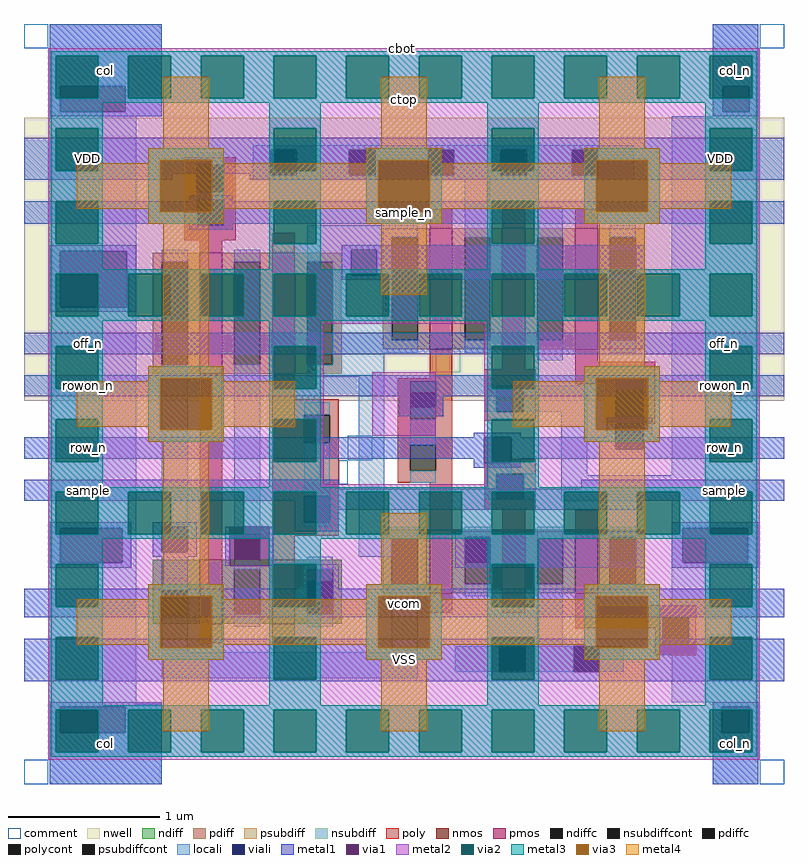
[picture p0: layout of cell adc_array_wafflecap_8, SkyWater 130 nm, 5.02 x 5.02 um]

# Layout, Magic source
magic
tech sky130A
magscale 1 2
<< nwell >>
rect 0 506 1004 880
<< nmos >>
rect 232 212 262 296
rect 328 212 358 296
rect 536 252 566 336
rect 632 252 662 336
rect 728 252 758 336
<< pmos >>
rect 232 542 262 702
rect 328 542 358 702
rect 536 574 566 734
rect 632 574 662 734
rect 728 574 758 734
<< ndiff >>
rect 474 324 536 336
rect 170 256 232 296
rect 170 222 182 256
rect 216 222 232 256
rect 170 212 232 222
rect 262 284 328 296
rect 262 224 278 284
rect 312 224 328 284
rect 262 212 328 224
rect 358 284 420 296
rect 358 224 374 284
rect 408 224 420 284
rect 474 264 486 324
rect 520 264 536 324
rect 474 252 536 264
rect 566 324 632 336
rect 566 264 582 324
rect 616 264 632 324
rect 566 252 632 264
rect 662 324 728 336
rect 662 264 678 324
rect 712 264 728 324
rect 662 252 728 264
rect 758 324 820 336
rect 758 264 774 324
rect 808 264 820 324
rect 758 252 820 264
rect 358 212 420 224
<< pdiff >>
rect 474 722 536 734
rect 170 690 232 702
rect 170 554 182 690
rect 216 554 232 690
rect 170 542 232 554
rect 262 690 328 702
rect 262 554 278 690
rect 312 554 328 690
rect 262 542 328 554
rect 358 690 420 702
rect 358 554 374 690
rect 408 554 420 690
rect 474 586 486 722
rect 520 586 536 722
rect 474 574 536 586
rect 566 722 632 734
rect 566 586 582 722
rect 616 586 632 722
rect 566 574 632 586
rect 662 722 728 734
rect 662 586 678 722
rect 712 586 728 722
rect 662 574 728 586
rect 758 722 820 734
rect 758 586 774 722
rect 808 586 820 722
rect 758 574 820 586
rect 358 542 420 554
<< ndiffc >>
rect 182 222 216 256
rect 278 224 312 284
rect 374 224 408 284
rect 486 264 520 324
rect 582 264 616 324
rect 678 264 712 324
rect 774 264 808 324
<< pdiffc >>
rect 182 554 216 690
rect 278 554 312 690
rect 374 554 408 690
rect 486 586 520 722
rect 582 586 616 722
rect 678 586 712 722
rect 774 586 808 722
<< psubdiff >>
rect 570 148 628 182
rect 662 148 726 182
rect 760 148 792 182
<< nsubdiff >>
rect 302 838 806 844
rect 302 804 326 838
rect 360 804 430 838
rect 464 804 534 838
rect 568 804 630 838
rect 664 804 724 838
rect 758 804 806 838
rect 302 798 806 804
<< psubdiffcont >>
rect 628 148 662 182
rect 726 148 760 182
<< nsubdiffcont >>
rect 326 804 360 838
rect 430 804 464 838
rect 534 804 568 838
rect 630 804 664 838
rect 724 804 758 838
<< poly >>
rect 212 818 280 828
rect 212 782 228 818
rect 264 782 280 818
rect 212 718 280 782
rect 536 734 566 760
rect 632 734 662 760
rect 728 734 758 760
rect 232 702 262 718
rect 328 702 358 728
rect 232 296 262 542
rect 328 508 358 542
rect 536 536 566 574
rect 632 548 662 574
rect 728 558 758 574
rect 494 516 566 536
rect 328 488 416 508
rect 328 450 370 488
rect 404 450 416 488
rect 328 328 416 450
rect 494 482 510 516
rect 544 482 566 516
rect 494 448 566 482
rect 608 526 676 548
rect 728 528 834 558
rect 608 492 624 526
rect 660 492 676 526
rect 608 480 676 492
rect 766 520 834 528
rect 766 486 782 520
rect 818 486 834 520
rect 766 476 834 486
rect 494 414 510 448
rect 544 414 566 448
rect 644 426 676 430
rect 494 398 566 414
rect 536 336 566 398
rect 608 410 676 426
rect 608 376 624 410
rect 660 376 676 410
rect 608 362 676 376
rect 632 336 662 362
rect 728 336 758 362
rect 328 296 358 328
rect 536 226 566 252
rect 632 226 662 252
rect 728 236 758 252
rect 728 220 888 236
rect 232 186 262 212
rect 328 186 358 212
rect 728 206 844 220
rect 834 186 844 206
rect 878 186 888 220
rect 834 170 888 186
<< polycont >>
rect 228 782 264 818
rect 370 450 404 488
rect 510 482 544 516
rect 624 492 660 526
rect 782 486 818 520
rect 510 414 544 448
rect 624 376 660 410
rect 844 186 878 220
<< locali >>
rect 34 922 182 1004
rect 34 888 48 922
rect 134 888 182 922
rect 34 882 182 888
rect 910 922 970 1004
rect 910 888 923 922
rect 958 888 970 922
rect 910 882 970 888
rect 34 704 148 882
rect 302 838 806 844
rect 228 818 264 834
rect 302 804 326 838
rect 360 804 430 838
rect 464 804 534 838
rect 568 804 630 838
rect 664 804 724 838
rect 758 804 806 838
rect 302 798 806 804
rect 228 772 264 782
rect 228 738 230 772
rect 374 722 520 738
rect 374 706 486 722
rect 34 630 48 704
rect 136 630 148 704
rect 34 338 148 630
rect 34 292 48 338
rect 130 292 148 338
rect 182 690 216 706
rect 182 340 216 554
rect 278 690 312 706
rect 278 330 312 554
rect 374 690 432 706
rect 408 672 432 690
rect 466 672 486 706
rect 408 586 486 672
rect 408 570 520 586
rect 582 722 616 798
rect 582 570 616 586
rect 678 722 712 762
rect 408 554 476 570
rect 678 560 712 586
rect 774 722 808 738
rect 774 570 808 586
rect 374 538 476 554
rect 370 488 404 504
rect 370 380 404 450
rect 370 340 404 346
rect 442 340 476 538
rect 608 492 624 526
rect 660 492 744 526
rect 510 448 544 482
rect 510 398 544 414
rect 608 410 644 424
rect 608 376 624 410
rect 660 376 676 410
rect 710 408 744 492
rect 782 520 818 536
rect 782 476 818 486
rect 856 408 970 882
rect 710 374 970 408
rect 34 106 148 292
rect 442 324 520 340
rect 442 300 486 324
rect 278 284 312 296
rect 182 256 216 272
rect 182 174 216 222
rect 278 208 312 224
rect 374 284 408 300
rect 374 208 408 224
rect 486 174 520 264
rect 582 326 616 340
rect 582 248 616 264
rect 678 324 712 340
rect 678 182 712 264
rect 774 326 808 340
rect 774 248 808 264
rect 856 338 970 374
rect 856 292 870 338
rect 956 292 970 338
rect 856 236 970 292
rect 840 220 970 236
rect 840 186 844 220
rect 878 186 970 220
rect 182 140 520 174
rect 570 148 628 182
rect 662 148 726 182
rect 760 148 792 182
rect 840 170 970 186
rect 856 108 970 170
rect 34 102 182 106
rect 34 68 48 102
rect 134 68 182 102
rect 34 0 182 68
rect 910 102 970 108
rect 910 68 922 102
rect 958 68 970 102
rect 910 0 970 68
<< viali >>
rect 48 888 134 922
rect 923 888 958 922
rect 326 804 360 838
rect 430 804 464 838
rect 534 804 568 838
rect 630 804 664 838
rect 724 804 758 838
rect 230 738 264 772
rect 48 630 136 704
rect 48 292 130 338
rect 182 306 216 340
rect 432 672 466 706
rect 774 672 808 706
rect 370 346 404 380
rect 510 516 544 532
rect 510 498 544 516
rect 608 424 644 458
rect 782 442 818 476
rect 278 296 312 330
rect 374 234 408 268
rect 582 324 616 326
rect 582 292 616 324
rect 774 324 808 326
rect 774 292 808 324
rect 870 292 956 338
rect 628 148 662 182
rect 726 148 760 182
rect 48 68 134 102
rect 922 68 958 102
<< metal1 >>
rect 34 922 182 1004
rect 34 888 48 922
rect 134 888 182 922
rect 34 882 182 888
rect 910 922 970 1004
rect 910 888 923 922
rect 958 888 970 922
rect 910 882 970 888
rect 0 838 1004 854
rect 0 806 326 838
rect 0 798 196 806
rect 298 804 326 806
rect 360 804 430 838
rect 464 804 534 838
rect 568 804 630 838
rect 664 804 724 838
rect 758 804 1004 838
rect 298 798 1004 804
rect 218 772 276 778
rect 218 770 230 772
rect 0 740 230 770
rect 218 738 230 740
rect 264 770 276 772
rect 264 740 1004 770
rect 264 738 276 740
rect 218 732 276 738
rect 34 704 148 712
rect 34 630 48 704
rect 136 630 148 704
rect 420 706 820 712
rect 420 672 432 706
rect 466 672 774 706
rect 808 672 820 706
rect 420 666 820 672
rect 34 624 148 630
rect 0 568 1004 596
rect 0 532 1004 540
rect 0 512 510 532
rect 496 498 510 512
rect 544 512 1004 532
rect 544 498 554 512
rect 496 486 554 498
rect 770 476 830 484
rect 594 458 656 464
rect 770 458 782 476
rect 0 430 608 458
rect 594 424 608 430
rect 644 442 782 458
rect 818 458 830 476
rect 818 442 1004 458
rect 644 430 1004 442
rect 644 424 656 430
rect 594 418 656 424
rect 0 390 416 402
rect 736 390 1004 402
rect 0 380 1004 390
rect 0 374 370 380
rect 358 346 370 374
rect 404 374 1004 380
rect 404 362 816 374
rect 404 346 416 362
rect 34 338 142 346
rect 34 292 48 338
rect 130 292 142 338
rect 170 340 228 346
rect 170 306 182 340
rect 216 306 228 340
rect 170 300 228 306
rect 34 286 142 292
rect 182 258 216 300
rect 266 288 272 340
rect 324 288 330 340
rect 358 334 416 346
rect 856 338 970 346
rect 570 326 820 334
rect 570 292 582 326
rect 616 292 774 326
rect 808 292 820 326
rect 368 268 416 290
rect 570 286 820 292
rect 856 292 870 338
rect 956 292 970 338
rect 856 286 970 292
rect 368 258 374 268
rect 0 234 374 258
rect 408 258 416 268
rect 408 234 1004 258
rect 0 220 1004 234
rect 0 182 1004 192
rect 0 148 628 182
rect 662 148 726 182
rect 760 148 1004 182
rect 0 136 1004 148
rect 34 102 182 108
rect 34 68 48 102
rect 134 68 182 102
rect 34 0 182 68
rect 910 102 970 108
rect 910 68 922 102
rect 958 68 970 102
rect 910 0 970 68
<< via1 >>
rect 272 330 324 340
rect 272 296 278 330
rect 278 296 312 330
rect 312 296 324 330
rect 272 288 324 296
<< metal2 >>
rect 32 962 972 972
rect 32 906 42 962
rect 98 906 138 962
rect 194 906 234 962
rect 290 906 330 962
rect 386 906 426 962
rect 482 906 522 962
rect 578 906 618 962
rect 674 906 714 962
rect 770 906 810 962
rect 866 906 906 962
rect 962 906 972 962
rect 32 866 972 906
rect 32 810 42 866
rect 98 810 330 866
rect 386 810 618 866
rect 674 810 906 866
rect 962 810 972 866
rect 32 770 972 810
rect 32 714 42 770
rect 98 714 330 770
rect 386 714 618 770
rect 674 714 906 770
rect 962 714 972 770
rect 32 674 972 714
rect 32 618 42 674
rect 98 618 138 674
rect 194 618 234 674
rect 290 618 330 674
rect 386 618 426 674
rect 482 618 522 674
rect 578 618 618 674
rect 674 618 714 674
rect 770 618 810 674
rect 866 618 906 674
rect 962 618 972 674
rect 32 608 972 618
rect 32 578 396 608
rect 32 522 42 578
rect 98 522 330 578
rect 386 522 396 578
rect 608 578 972 608
rect 32 482 396 522
rect 32 426 42 482
rect 98 426 330 482
rect 386 426 396 482
rect 460 460 544 544
rect 608 522 618 578
rect 674 522 906 578
rect 962 522 972 578
rect 608 482 972 522
rect 32 396 396 426
rect 608 426 618 482
rect 674 426 906 482
rect 962 426 972 482
rect 608 396 972 426
rect 32 386 972 396
rect 32 330 42 386
rect 98 330 138 386
rect 194 330 234 386
rect 290 340 330 386
rect 324 330 330 340
rect 386 330 426 386
rect 482 330 522 386
rect 578 330 618 386
rect 674 330 714 386
rect 770 330 810 386
rect 866 330 906 386
rect 962 330 972 386
rect 32 290 272 330
rect 32 234 42 290
rect 98 288 272 290
rect 324 290 972 330
rect 324 288 330 290
rect 98 234 330 288
rect 386 234 618 290
rect 674 234 906 290
rect 962 234 972 290
rect 32 194 972 234
rect 32 138 42 194
rect 98 138 330 194
rect 386 138 618 194
rect 674 138 906 194
rect 962 138 972 194
rect 32 98 972 138
rect 32 42 42 98
rect 98 42 138 98
rect 194 42 234 98
rect 290 42 330 98
rect 386 42 426 98
rect 482 42 522 98
rect 578 42 618 98
rect 674 42 714 98
rect 770 42 810 98
rect 866 42 906 98
rect 962 42 972 98
rect 32 32 972 42
<< via2 >>
rect 42 906 98 962
rect 138 906 194 962
rect 234 906 290 962
rect 330 906 386 962
rect 426 906 482 962
rect 522 906 578 962
rect 618 906 674 962
rect 714 906 770 962
rect 810 906 866 962
rect 906 906 962 962
rect 42 810 98 866
rect 330 810 386 866
rect 618 810 674 866
rect 906 810 962 866
rect 42 714 98 770
rect 330 714 386 770
rect 618 714 674 770
rect 906 714 962 770
rect 42 618 98 674
rect 138 618 194 674
rect 234 618 290 674
rect 330 618 386 674
rect 426 618 482 674
rect 522 618 578 674
rect 618 618 674 674
rect 714 618 770 674
rect 810 618 866 674
rect 906 618 962 674
rect 42 522 98 578
rect 330 522 386 578
rect 42 426 98 482
rect 330 426 386 482
rect 618 522 674 578
rect 906 522 962 578
rect 618 426 674 482
rect 906 426 962 482
rect 42 330 98 386
rect 138 330 194 386
rect 234 340 290 386
rect 234 330 272 340
rect 272 330 290 340
rect 330 330 386 386
rect 426 330 482 386
rect 522 330 578 386
rect 618 330 674 386
rect 714 330 770 386
rect 810 330 866 386
rect 906 330 962 386
rect 42 234 98 290
rect 330 234 386 290
rect 618 234 674 290
rect 906 234 962 290
rect 42 138 98 194
rect 330 138 386 194
rect 618 138 674 194
rect 906 138 962 194
rect 42 42 98 98
rect 138 42 194 98
rect 234 42 290 98
rect 330 42 386 98
rect 426 42 482 98
rect 522 42 578 98
rect 618 42 674 98
rect 714 42 770 98
rect 810 42 866 98
rect 906 42 962 98
<< metal3 >>
rect 36 962 968 968
rect 36 906 42 962
rect 98 906 138 962
rect 194 906 234 962
rect 290 906 330 962
rect 386 906 426 962
rect 482 906 522 962
rect 578 906 618 962
rect 674 906 714 962
rect 770 906 810 962
rect 866 906 906 962
rect 962 906 968 962
rect 36 900 968 906
rect 36 866 104 900
rect 36 810 42 866
rect 98 810 104 866
rect 324 866 392 900
rect 36 770 104 810
rect 36 714 42 770
rect 98 714 104 770
rect 164 824 264 840
rect 164 756 180 824
rect 248 756 264 824
rect 164 740 264 756
rect 324 810 330 866
rect 386 810 392 866
rect 612 866 680 900
rect 324 770 392 810
rect 36 680 104 714
rect 324 714 330 770
rect 386 714 392 770
rect 452 824 552 840
rect 452 756 468 824
rect 536 756 552 824
rect 452 740 552 756
rect 612 810 618 866
rect 674 810 680 866
rect 900 866 968 900
rect 612 770 680 810
rect 324 680 392 714
rect 612 714 618 770
rect 674 714 680 770
rect 740 824 840 840
rect 740 756 756 824
rect 824 756 840 824
rect 740 740 840 756
rect 900 810 906 866
rect 962 810 968 866
rect 900 770 968 810
rect 612 680 680 714
rect 900 714 906 770
rect 962 714 968 770
rect 900 680 968 714
rect 36 674 968 680
rect 36 618 42 674
rect 98 618 138 674
rect 194 618 234 674
rect 290 618 330 674
rect 386 618 426 674
rect 482 618 522 674
rect 578 618 618 674
rect 674 618 714 674
rect 770 618 810 674
rect 866 618 906 674
rect 962 618 968 674
rect 36 612 968 618
rect 36 578 104 612
rect 36 522 42 578
rect 98 522 104 578
rect 324 578 392 612
rect 36 482 104 522
rect 36 426 42 482
rect 98 426 104 482
rect 164 536 264 552
rect 164 468 180 536
rect 248 468 264 536
rect 164 452 264 468
rect 324 522 330 578
rect 386 522 392 578
rect 324 482 392 522
rect 36 392 104 426
rect 324 426 330 482
rect 386 426 392 482
rect 324 392 392 426
rect 612 578 680 612
rect 612 522 618 578
rect 674 522 680 578
rect 900 578 968 612
rect 612 482 680 522
rect 612 426 618 482
rect 674 426 680 482
rect 740 536 840 552
rect 740 468 756 536
rect 824 468 840 536
rect 740 452 840 468
rect 900 522 906 578
rect 962 522 968 578
rect 900 482 968 522
rect 612 392 680 426
rect 900 426 906 482
rect 962 426 968 482
rect 900 392 968 426
rect 36 386 968 392
rect 36 330 42 386
rect 98 330 138 386
rect 194 330 234 386
rect 290 330 330 386
rect 386 330 426 386
rect 482 330 522 386
rect 578 330 618 386
rect 674 330 714 386
rect 770 330 810 386
rect 866 330 906 386
rect 962 330 968 386
rect 36 324 968 330
rect 36 290 104 324
rect 36 234 42 290
rect 98 234 104 290
rect 324 290 392 324
rect 36 194 104 234
rect 36 138 42 194
rect 98 138 104 194
rect 164 248 264 264
rect 164 180 180 248
rect 248 180 264 248
rect 164 164 264 180
rect 324 234 330 290
rect 386 234 392 290
rect 612 290 680 324
rect 324 194 392 234
rect 36 104 104 138
rect 324 138 330 194
rect 386 138 392 194
rect 452 248 552 264
rect 452 180 468 248
rect 536 180 552 248
rect 452 164 552 180
rect 612 234 618 290
rect 674 234 680 290
rect 900 290 968 324
rect 612 194 680 234
rect 324 104 392 138
rect 612 138 618 194
rect 674 138 680 194
rect 740 248 840 264
rect 740 180 756 248
rect 824 180 840 248
rect 740 164 840 180
rect 900 234 906 290
rect 962 234 968 290
rect 900 194 968 234
rect 612 104 680 138
rect 900 138 906 194
rect 962 138 968 194
rect 900 104 968 138
rect 36 98 968 104
rect 36 42 42 98
rect 98 42 138 98
rect 194 42 234 98
rect 290 42 330 98
rect 386 42 426 98
rect 482 42 522 98
rect 578 42 618 98
rect 674 42 714 98
rect 770 42 810 98
rect 866 42 906 98
rect 962 42 968 98
rect 36 36 968 42
<< via3 >>
rect 180 756 248 824
rect 468 756 536 824
rect 756 756 824 824
rect 180 468 248 536
rect 756 468 824 536
rect 180 180 248 248
rect 468 180 536 248
rect 756 180 824 248
<< metal4 >>
rect 184 840 244 934
rect 472 840 532 934
rect 760 840 820 934
rect 164 824 264 840
rect 164 820 180 824
rect 70 760 180 820
rect 164 756 180 760
rect 248 820 264 824
rect 452 824 552 840
rect 452 820 468 824
rect 248 760 468 820
rect 248 756 264 760
rect 164 740 264 756
rect 452 756 468 760
rect 536 820 552 824
rect 740 824 840 840
rect 740 820 756 824
rect 536 760 756 820
rect 536 756 552 760
rect 452 740 552 756
rect 740 756 756 760
rect 824 820 840 824
rect 824 760 934 820
rect 824 756 840 760
rect 740 740 840 756
rect 184 552 244 740
rect 472 646 532 740
rect 760 552 820 740
rect 164 536 264 552
rect 164 532 180 536
rect 70 472 180 532
rect 164 468 180 472
rect 248 532 264 536
rect 740 536 840 552
rect 740 532 756 536
rect 248 472 358 532
rect 646 472 756 532
rect 248 468 264 472
rect 164 452 264 468
rect 740 468 756 472
rect 824 532 840 536
rect 824 472 934 532
rect 824 468 840 472
rect 740 452 840 468
rect 184 264 244 452
rect 472 264 532 358
rect 760 264 820 452
rect 164 248 264 264
rect 164 244 180 248
rect 70 184 180 244
rect 164 180 180 184
rect 248 244 264 248
rect 452 248 552 264
rect 452 244 468 248
rect 248 184 468 244
rect 248 180 264 184
rect 164 164 264 180
rect 452 180 468 184
rect 536 244 552 248
rect 740 248 840 264
rect 740 244 756 248
rect 536 184 756 244
rect 536 180 552 184
rect 452 164 552 180
rect 740 180 756 184
rect 824 244 840 248
rect 824 184 934 244
rect 824 180 840 184
rect 740 164 840 180
rect 184 70 244 164
rect 472 70 532 164
rect 760 70 820 164
<< comment >>
rect 0 972 32 1004
rect 972 972 1004 1004
rect 576 576 608 608
rect 544 544 576 576
rect 428 428 460 460
rect 416 396 428 428
rect 0 0 32 32
rect 972 0 1004 32
<< labels >>
flabel metal1 0 798 167 854 0 FreeSans 160 0 0 0 VDD
port 1 w power bidirectional
flabel metal1 837 798 1004 854 0 FreeSans 160 0 0 0 VDD
port 1 e power bidirectional
flabel metal1 0 136 1004 192 0 FreeSans 320 0 0 0 VSS
port 2 nsew ground bidirectional
flabel metal1 0 220 1004 258 0 FreeSans 320 0 0 0 vcom
port 3 nsew
flabel metal4 472 874 532 934 1 FreeSans 160 0 0 0 ctop
port 4 n
flabel metal1 34 0 182 108 5 FreeSans 320 0 0 0 col
port 5 s
flabel metal1 34 882 182 1004 1 FreeSans 320 0 0 0 col
port 5 n
flabel space 910 0 970 108 1 FreeSans 320 0 0 0 col_n
port 6 s
flabel space 910 882 970 1004 1 FreeSans 320 0 0 0 col_n
port 6 n
flabel metal1 0 430 171 458 0 FreeSans 160 0 0 0 row_n
port 7 w
flabel metal1 846 430 1004 458 0 FreeSans 160 0 0 0 row_n
port 7 e
flabel metal1 0 512 171 540 0 FreeSans 160 0 0 0 rowon_n
port 8 w
flabel metal1 849 512 1004 540 0 FreeSans 160 0 0 0 rowon_n
port 8 e
flabel metal1 0 374 171 402 0 FreeSans 160 0 0 0 sample
port 9 w
flabel metal1 846 374 1004 402 0 FreeSans 160 0 0 0 sample
port 9 e
flabel metal1 0 740 1004 770 0 FreeSans 160 0 0 0 sample_n
port 10 nsew
flabel metal1 0 568 171 596 7 FreeSans 160 0 0 0 off_n
port 11 w
flabel metal1 848 568 1004 596 3 FreeSans 160 0 0 0 off_n
port 11 e
rlabel metal2 500 972 500 972 1 cbot
<< end >>
